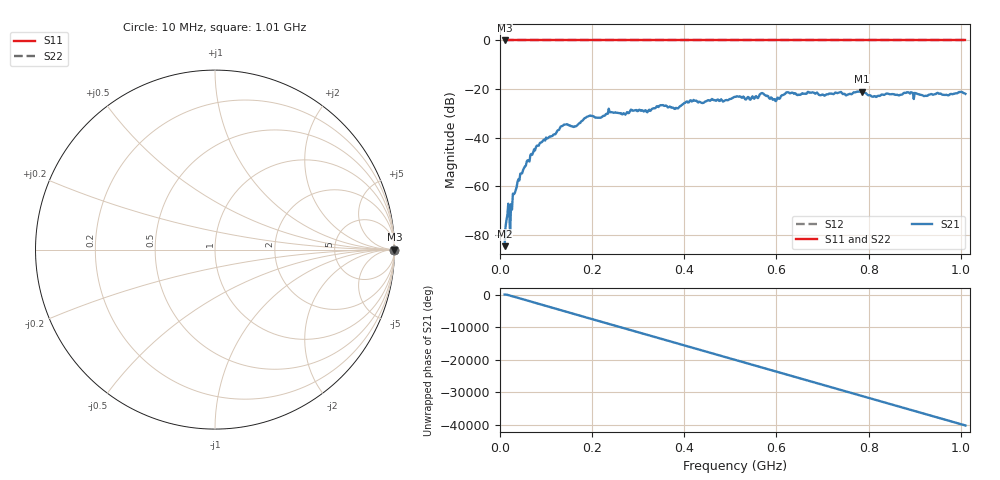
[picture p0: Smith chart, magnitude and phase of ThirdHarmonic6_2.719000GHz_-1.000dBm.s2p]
! 8/17/2025 6:37:12 AM
! C:\ANRITSUVNA\TEMP\TEMP.S2P
! CHANNEL.1
! TR.MEASUREMENT
! RAW.DATA
! RF.CORRECTION.OFF
! AVERAGING.OFF
! IF.BANDWIDTH: 5KHZ
! SWEEPTYPE:  FREQ.SWEEP(Linear)
! Reference Plane Port Info
! PORT:  PORT1  PORT2
! DISTANCE:  0  m  0  m
! TIME:  0  s  0  s
! PHASE.OFFSET:  0  deg.  0  deg.
! LOSS:  0  dB  0  dB
! REF.LOSS:  0  dB  0  dB
! REF.FREQ:  0  Hz  0  Hz
! Power Info
! POWER:  -20  dBm  -20  dBm
! EFF.POWER:  -20  dBm  -20  dBm
! SOURCE.ATTEN:  0  dB  0  dB
! TEST.ATTEN:  0  dB  0  dB
# GHZ S RI R 50.0
! FREQ.GHZ  S11RE  S11IM  S21RE  S21IM  S12RE  S12IM  S22RE  S22IM
!; PortSelection: Port_12
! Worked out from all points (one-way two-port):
!   501 points, 10 MHz to 1.01 GHz, reference 50 ohm
!   highest |S21| = -21.02 dB at 786 MHz (marker M1); lowest = -84.7 dB at 10 MHz (marker M2)
!   lowest |S11| = 0.0 dB at 10 MHz (marker M3)
!   |S11| at or under -10 dB: nowhere
!   |S22| runs from 0.0 to 0.0 dB; largest |S21 - S12| = 1.1
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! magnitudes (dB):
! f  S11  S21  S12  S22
! 10 MHz  0.0  -84.7  0.0  0.0
! 16 MHz  0.0  -71.8  0.0  0.0
! 24 MHz  0.0  -67.3  0.0  0.0
! 28 MHz  0.0  -63.0  0.0  0.0
! 42 MHz  0.0  -57.6  0.0  0.0
! 78 MHz  0.0  -43.9  0.0  0.0
! 136 MHz  0.0  -35.2  0.0  0.0
! 162 MHz  0.0  -35.4  0.0  0.0
! 178 MHz  0.0  -33.1  0.0  0.0
! 240 MHz  0.0  -29.5  0.0  0.0
! 268 MHz  0.0  -29.9  0.0  0.0
! 344 MHz  0.0  -27.4  0.0  0.0
! 382 MHz  0.0  -27.8  0.0  0.0
! 416 MHz  0.0  -25.1  0.0  0.0
! 510 MHz  0.0  -23.2  0.0  0.0
! 568 MHz  0.0  -21.7  0.0  0.0
! 596 MHz  0.0  -24.1  0.0  0.0
! 624 MHz  0.0  -21.3  0.0  0.0
! 678 MHz  0.0  -21.4  0.0  0.0
! 786 MHz  0.0  -21.0  0.0  0.0
! 844 MHz  0.0  -22.0  0.0  0.0
! 1.01 GHz  0.0  -22.0  0.0  0.0
